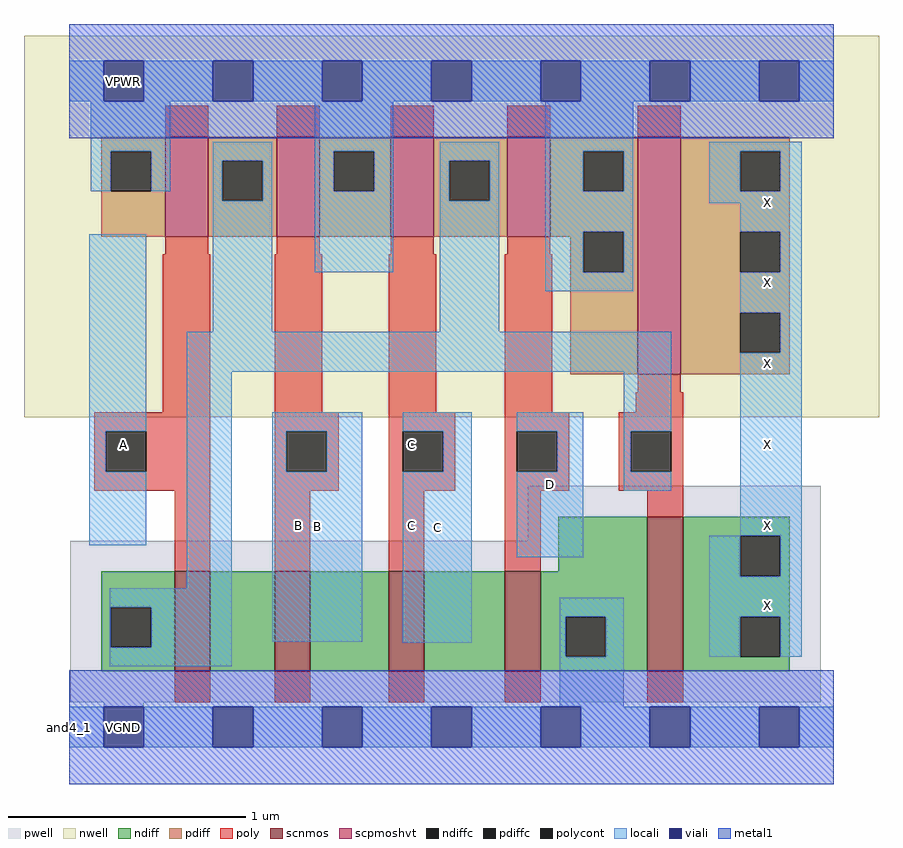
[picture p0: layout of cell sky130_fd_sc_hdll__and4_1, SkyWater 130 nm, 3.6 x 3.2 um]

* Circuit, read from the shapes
.subckt sky130_fd_sc_hdll__and4_1 A B C D VGND VNB VPB VPWR X
XM1 n1 A n2 VNB sky130_fd_pr__nfet_01v8 w=0.42 l=0.15
XM2 n3 B n1 VNB sky130_fd_pr__nfet_01v8 w=0.42 l=0.15
XM3 n4 C n3 VNB sky130_fd_pr__nfet_01v8 w=0.42 l=0.15
XM4 VGND D n4 VNB sky130_fd_pr__nfet_01v8 w=0.42 l=0.15
XM5 X n2 VGND VNB sky130_fd_pr__nfet_01v8 w=0.65 l=0.15
XM6 n2 A VPWR VPB sky130_fd_pr__pfet_01v8_hvt w=0.42 l=0.18
XM7 VPWR B n2 VPB sky130_fd_pr__pfet_01v8_hvt w=0.42 l=0.18
XM8 n2 C VPWR VPB sky130_fd_pr__pfet_01v8_hvt w=0.42 l=0.18
XM9 VPWR D n2 VPB sky130_fd_pr__pfet_01v8_hvt w=0.42 l=0.18
XM10 X n2 VPWR VPB sky130_fd_pr__pfet_01v8_hvt w=1 l=0.18
.ends

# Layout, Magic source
magic
tech sky130A
magscale 1 2
<< nwell >>
rect -38 261 682 582
<< pwell >>
rect 386 157 633 203
rect 1 21 633 157
rect 29 -17 63 21
<< scnmos >>
rect 89 47 119 131
rect 173 47 203 131
rect 269 47 299 131
rect 367 47 397 131
rect 487 47 517 177
<< scpmoshvt >>
rect 81 413 117 497
rect 175 413 211 497
rect 271 413 307 497
rect 369 413 405 497
rect 479 297 515 497
<< ndiff >>
rect 412 131 487 177
rect 27 101 89 131
rect 27 67 35 101
rect 69 67 89 101
rect 27 47 89 67
rect 119 47 173 131
rect 203 47 269 131
rect 299 47 367 131
rect 397 93 487 131
rect 397 59 418 93
rect 452 59 487 93
rect 397 47 487 59
rect 517 161 607 177
rect 517 127 565 161
rect 599 127 607 161
rect 517 93 607 127
rect 517 59 565 93
rect 599 59 607 93
rect 517 47 607 59
<< pdiff >>
rect 27 485 81 497
rect 27 451 35 485
rect 69 451 81 485
rect 27 413 81 451
rect 117 477 175 497
rect 117 443 129 477
rect 163 443 175 477
rect 117 413 175 443
rect 211 485 271 497
rect 211 451 223 485
rect 257 451 271 485
rect 211 413 271 451
rect 307 477 369 497
rect 307 443 320 477
rect 354 443 369 477
rect 307 413 369 443
rect 405 485 479 497
rect 405 451 433 485
rect 467 451 479 485
rect 405 417 479 451
rect 405 413 433 417
rect 422 383 433 413
rect 467 383 479 417
rect 422 297 479 383
rect 515 485 607 497
rect 515 451 565 485
rect 599 451 607 485
rect 515 417 607 451
rect 515 383 565 417
rect 599 383 607 417
rect 515 349 607 383
rect 515 315 565 349
rect 599 315 607 349
rect 515 297 607 315
<< ndiffc >>
rect 35 67 69 101
rect 418 59 452 93
rect 565 127 599 161
rect 565 59 599 93
<< pdiffc >>
rect 35 451 69 485
rect 129 443 163 477
rect 223 451 257 485
rect 320 443 354 477
rect 433 451 467 485
rect 433 383 467 417
rect 565 451 599 485
rect 565 383 599 417
rect 565 315 599 349
<< poly >>
rect 81 497 117 523
rect 175 497 211 523
rect 271 497 307 523
rect 369 497 405 523
rect 479 497 515 523
rect 81 398 117 413
rect 175 398 211 413
rect 271 398 307 413
rect 369 398 405 413
rect 79 265 119 398
rect 21 249 119 265
rect 21 215 31 249
rect 65 215 119 249
rect 21 199 119 215
rect 89 131 119 199
rect 173 265 213 398
rect 269 265 309 398
rect 367 265 407 398
rect 479 282 515 297
rect 477 265 517 282
rect 173 249 227 265
rect 173 215 183 249
rect 217 215 227 249
rect 173 199 227 215
rect 269 249 325 265
rect 269 215 281 249
rect 315 215 325 249
rect 269 199 325 215
rect 367 249 421 265
rect 367 215 377 249
rect 411 215 421 249
rect 367 199 421 215
rect 463 249 517 265
rect 463 215 473 249
rect 507 215 517 249
rect 463 199 517 215
rect 173 131 203 199
rect 269 131 299 199
rect 367 131 397 199
rect 487 177 517 199
rect 89 21 119 47
rect 173 21 203 47
rect 269 21 299 47
rect 367 21 397 47
rect 487 21 517 47
<< polycont >>
rect 31 215 65 249
rect 183 215 217 249
rect 281 215 315 249
rect 377 215 411 249
rect 473 215 507 249
<< locali >>
rect 0 527 29 561
rect 63 527 121 561
rect 155 527 213 561
rect 247 527 305 561
rect 339 527 397 561
rect 431 527 489 561
rect 523 527 581 561
rect 615 527 644 561
rect 18 485 85 527
rect 18 451 35 485
rect 69 451 85 485
rect 121 477 171 493
rect 121 443 129 477
rect 163 443 171 477
rect 17 249 65 415
rect 121 333 171 443
rect 207 485 273 527
rect 207 451 223 485
rect 257 451 273 485
rect 207 383 273 451
rect 312 477 362 493
rect 312 443 320 477
rect 354 443 362 477
rect 312 333 362 443
rect 401 485 475 527
rect 401 451 433 485
rect 467 451 475 485
rect 401 417 475 451
rect 539 485 617 493
rect 539 451 565 485
rect 599 451 617 485
rect 539 441 617 451
rect 401 383 433 417
rect 467 383 475 417
rect 401 367 475 383
rect 565 417 617 441
rect 599 383 617 417
rect 565 349 617 383
rect 17 215 31 249
rect 17 153 65 215
rect 99 299 507 333
rect 99 117 137 299
rect 34 101 137 117
rect 34 67 35 101
rect 69 67 137 101
rect 171 249 247 265
rect 171 215 183 249
rect 217 215 247 249
rect 171 72 247 215
rect 281 249 339 265
rect 315 215 339 249
rect 281 71 339 215
rect 377 249 433 265
rect 411 215 433 249
rect 377 143 433 215
rect 467 249 507 299
rect 467 215 473 249
rect 467 199 507 215
rect 599 315 617 349
rect 565 161 617 315
rect 539 127 565 161
rect 599 127 617 161
rect 413 93 467 109
rect 34 51 137 67
rect 413 59 418 93
rect 452 59 467 93
rect 539 93 617 127
rect 539 59 565 93
rect 599 59 617 93
rect 413 17 467 59
rect 0 -17 29 17
rect 63 -17 121 17
rect 155 -17 213 17
rect 247 -17 305 17
rect 339 -17 397 17
rect 431 -17 489 17
rect 523 -17 581 17
rect 615 -17 644 17
<< viali >>
rect 29 527 63 561
rect 121 527 155 561
rect 213 527 247 561
rect 305 527 339 561
rect 397 527 431 561
rect 489 527 523 561
rect 581 527 615 561
rect 29 -17 63 17
rect 121 -17 155 17
rect 213 -17 247 17
rect 305 -17 339 17
rect 397 -17 431 17
rect 489 -17 523 17
rect 581 -17 615 17
<< metal1 >>
rect 0 561 644 592
rect 0 527 29 561
rect 63 527 121 561
rect 155 527 213 561
rect 247 527 305 561
rect 339 527 397 561
rect 431 527 489 561
rect 523 527 581 561
rect 615 527 644 561
rect 0 496 644 527
rect 0 17 644 48
rect 0 -17 29 17
rect 63 -17 121 17
rect 155 -17 213 17
rect 247 -17 305 17
rect 339 -17 397 17
rect 431 -17 489 17
rect 523 -17 581 17
rect 615 -17 644 17
rect 0 -48 644 -17
<< labels >>
flabel locali s 571 425 605 459 0 FreeSans 200 0 0 0 X
port 9 nsew signal output
flabel locali s 281 71 339 265 0 FreeSans 200 0 0 0 C
port 3 nsew signal input
flabel locali s 288 170 288 170 0 FreeSans 200 0 0 0 C
port 3 nsew
flabel locali s 29 221 63 255 0 FreeSans 200 0 0 0 A
port 1 nsew signal input
flabel locali s 288 238 288 238 0 FreeSans 200 0 0 0 C
port 3 nsew
flabel locali s 171 72 247 265 0 FreeSans 200 0 0 0 B
port 2 nsew signal input
flabel locali s 193 170 193 170 0 FreeSans 200 0 0 0 B
port 2 nsew
flabel locali s 377 143 433 265 0 FreeSans 200 0 0 0 D
port 4 nsew signal input
flabel locali s 571 85 605 119 0 FreeSans 200 0 0 0 X
port 9 nsew signal output
flabel locali s 571 153 605 187 0 FreeSans 200 0 0 0 X
port 9 nsew signal output
flabel locali s 571 221 605 255 0 FreeSans 200 0 0 0 X
port 9 nsew signal output
flabel locali s 571 289 605 323 0 FreeSans 200 0 0 0 X
port 9 nsew signal output
flabel locali s 571 357 605 391 0 FreeSans 200 0 0 0 X
port 9 nsew signal output
flabel metal1 s 29 -17 63 17 0 FreeSans 200 0 0 0 VGND
port 5 nsew ground bidirectional
flabel metal1 s 29 527 63 561 0 FreeSans 200 0 0 0 VPWR
port 8 nsew power bidirectional
flabel nwell s 29 527 63 561 0 FreeSans 200 0 0 0 VPB
port 7 nsew power bidirectional
flabel pwell s 29 -17 63 17 0 FreeSans 200 0 0 0 VNB
port 6 nsew ground bidirectional
rlabel comment s 0 0 0 0 4 and4_1
<< properties >>
string LEFsite unithd
string LEFclass CORE
string FIXED_BBOX 0 0 644 544
string GDS_FILE $PDKPATH/libs.ref/sky130_fd_sc_hdll/gds/sky130_fd_sc_hdll.gds
string LEFsymmetry X Y R90
string GDS_END 1832280
string GDS_START 1825846
string LEFproperties maskLayoutSubType "abstract" prCellType "standard" originalViewName "layout"
<< end >>
